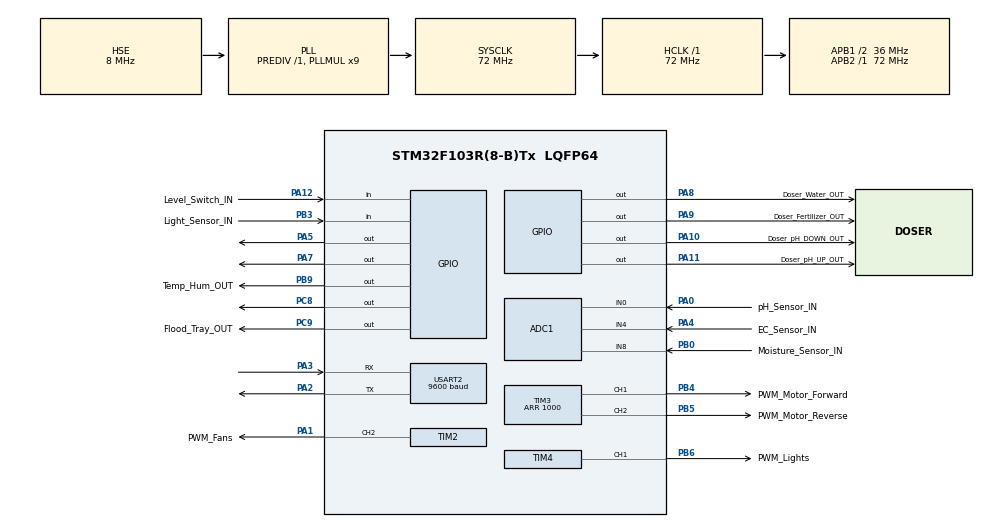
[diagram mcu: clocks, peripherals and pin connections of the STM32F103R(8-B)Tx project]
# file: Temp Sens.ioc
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ADC1.Channel-3\#ChannelRegularConversion=ADC_CHANNEL_4
ADC1.NbrOfConversionFlag=1
ADC1.Rank-3\#ChannelRegularConversion=1
ADC1.SamplingTime-3\#ChannelRegularConversion=ADC_SAMPLETIME_1CYCLE_5
ADC1.master=1
Mcu.Family=STM32F1
Mcu.Name=STM32F103R(8-B)Tx
Mcu.Package=LQFP64
NVIC.PriorityGroup=NVIC_PRIORITYGROUP_4
NVIC.USART2_IRQn=true\:0\:0\:false\:false\:true\:true\:true
PA0-WKUP.GPIO_Label=pH_Sensor_IN
PA0-WKUP.Signal=ADCx_IN0
PA1.GPIO_Label=PWM_Fans
PA1.Signal=S_TIM2_CH2
PA10.GPIO_Label=Doser_pH_DOWN_OUT
PA10.Signal=GPIO_Output
PA11.GPIO_Label=Doser_pH_UP_OUT
PA11.Signal=GPIO_Output
PA12.GPIO_Label=Level_Switch_IN
PA12.GPIO_PuPd=GPIO_PULLUP
PA12.Signal=GPIO_Input
PA13.Mode=Serial_Wire
PA13.Signal=SYS_JTMS-SWDIO
PA14.Mode=Serial_Wire
PA14.Signal=SYS_JTCK-SWCLK
PA2.Mode=Asynchronous
PA2.Signal=USART2_TX
PA3.Mode=Asynchronous
PA3.Signal=USART2_RX
PA4.GPIO_Label=EC_Sensor_IN
PA4.Signal=ADCx_IN4
PA5.Signal=GPIO_Output
PA7.Signal=GPIO_Output
PA8.GPIO_Label=Doser_Water_OUT
PA8.Signal=GPIO_Output
PA9.GPIO_Label=Doser_Fertilizer_OUT
PA9.Signal=GPIO_Output
PB0.GPIO_Label=Moisture_Sensor_IN
PB0.Signal=ADCx_IN8
PB3.GPIO_Label=Light_Sensor_IN
PB3.Signal=GPIO_Input
PB4.GPIO_Label=PWM_Motor_Forward
PB4.Signal=S_TIM3_CH1
PB5.GPIO_Label=PWM_Motor_Reverse
PB5.Signal=S_TIM3_CH2
PB6.GPIO_Label=PWM_Lights
PB6.Signal=S_TIM4_CH1
PB9.GPIO_Label=Temp_Hum_OUT
PB9.Signal=GPIO_Output
PC8.Signal=GPIO_Output
PC9.GPIO_Label=Flood_Tray_OUT
PC9.Signal=GPIO_Output
PD0-OSC_IN.Mode=HSE-External-Oscillator
PD0-OSC_IN.Signal=RCC_OSC_IN
PD1-OSC_OUT.Mode=HSE-External-Oscillator
PD1-OSC_OUT.Signal=RCC_OSC_OUT
ProjectManager.HeapSize=0x200
ProjectManager.StackSize=0x400
ProjectManager.TargetToolchain=STM32CubeIDE
RCC.ADCPresc=RCC_ADCPCLK2_DIV6
RCC.AHBFreq_Value=72000000
RCC.APB1CLKDivider=RCC_HCLK_DIV2
RCC.APB1Freq_Value=36000000
RCC.APB1TimFreq_Value=72000000
RCC.APB2Freq_Value=72000000
RCC.APB2TimFreq_Value=72000000
RCC.HCLKFreq_Value=72000000
RCC.PLLMUL=RCC_PLL_MUL9
RCC.PLLSourceVirtual=RCC_PLLSOURCE_HSE
RCC.SYSCLKFreq_VALUE=72000000
RCC.SYSCLKSource=RCC_SYSCLKSOURCE_PLLCLK
RCC.USBFreq_Value=72000000
SH.ADCx_IN0.0=ADC1_IN0,IN0
SH.ADCx_IN4.0=ADC1_IN4,IN4
SH.ADCx_IN8.0=ADC1_IN8,IN8
SH.S_TIM2_CH2.0=TIM2_CH2,PWM Generation2 CH2
SH.S_TIM3_CH1.0=TIM3_CH1,PWM Generation1 CH1
SH.S_TIM3_CH2.0=TIM3_CH2,PWM Generation2 CH2
SH.S_TIM4_CH1.0=TIM4_CH1,PWM Generation1 CH1
TIM1.Prescaler=71
TIM2.AutoReloadPreload=TIM_AUTORELOAD_PRELOAD_ENABLE
TIM2.Channel-PWM\ Generation2\ CH2=TIM_CHANNEL_2
TIM2.Period=1000
TIM2.Prescaler=0
TIM3.AutoReloadPreload=TIM_AUTORELOAD_PRELOAD_ENABLE
TIM3.Channel-PWM\ Generation1\ CH1=TIM_CHANNEL_1
TIM3.Channel-PWM\ Generation2\ CH2=TIM_CHANNEL_2
TIM3.Period=1000
TIM4.Channel-PWM\ Generation1\ CH1=TIM_CHANNEL_1
TIM4.Period=1000
USART2.BaudRate=9600
USART2.VirtualMode=VM_ASYNC
VP_TIM1_VS_ClockSourceINT.Mode=Internal
VP_TIM2_VS_ClockSourceINT.Mode=Internal
VP_TIM3_VS_ClockSourceINT.Mode=Internal
VP_TIM4_VS_ClockSourceINT.Mode=Internal
board=custom

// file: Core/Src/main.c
/* USER CODE BEGIN Header */
/**
  ******************************************************************************
  * @file           : main.c
  * @brief          : Main program body
  ******************************************************************************
  * @attention
  *
  * <h2><center>&copy; Copyright (c) 2022 STMicroelectronics.
  * All rights reserved.</center></h2>
  *
  * This software component is licensed by ST under BSD 3-Clause license,
  * the "License"; You may not use this file except in compliance with the
  * License. You may obtain a copy of the License at:
  *                        opensource.org/licenses/BSD-3-Clause
  *
  ******************************************************************************
  */
/* USER CODE END Header */
#include "main.h"

ADC_HandleTypeDef hadc1;

TIM_HandleTypeDef htim1;
TIM_HandleTypeDef htim2;
TIM_HandleTypeDef htim3;
TIM_HandleTypeDef htim4;

UART_HandleTypeDef huart2;

void SystemClock_Config(void);
static void MX_GPIO_Init(void);
static void MX_TIM1_Init(void);
static void MX_TIM2_Init(void);
static void MX_USART2_UART_Init(void);
static void MX_ADC1_Init(void);
static void MX_TIM3_Init(void);
static void MX_TIM4_Init(void);

/* USER CODE BEGIN 0 */
#define DHT22_PORT GPIOB
#define DHT22_PIN GPIO_PIN_9
uint8_t RH1, RH2, TC1, TC2, SUM, CHECK, data;
uint32_t pMillis, cMillis;
float tCelsius = 0;
float tFahrenheit = 0;
float RH = 0;

void microDelay (uint16_t delay)
{
  __HAL_TIM_SET_COUNTER(&htim1, 0);
  while (__HAL_TIM_GET_COUNTER(&htim1) < delay);
}

uint8_t DHT22_Start (void)
{
  uint8_t Response = 0;
  GPIO_InitTypeDef GPIO_InitStructPrivate = {0};
  GPIO_InitStructPrivate.Pin = DHT22_PIN;
  GPIO_InitStructPrivate.Mode = GPIO_MODE_OUTPUT_PP;
  GPIO_InitStructPrivate.Speed = GPIO_SPEED_FREQ_LOW;
  GPIO_InitStructPrivate.Pull = GPIO_NOPULL;
  HAL_GPIO_Init(DHT22_PORT, &GPIO_InitStructPrivate); // set the pin as output
  HAL_GPIO_WritePin (DHT22_PORT, DHT22_PIN, 0);   // pull the pin low
  microDelay (1300);   // wait for 1300us
  HAL_GPIO_WritePin (DHT22_PORT, DHT22_PIN, 1);   // pull the pin high
  microDelay (30);   // wait for 30us
  GPIO_InitStructPrivate.Mode = GPIO_MODE_INPUT;
  GPIO_InitStructPrivate.Pull = GPIO_PULLUP;
  HAL_GPIO_Init(DHT22_PORT, &GPIO_InitStructPrivate); // set the pin as input
  microDelay (40);
  if (!(HAL_GPIO_ReadPin (DHT22_PORT, DHT22_PIN)))
  {
    microDelay (80);
    if ((HAL_GPIO_ReadPin (DHT22_PORT, DHT22_PIN))) Response = 1;
  }
  pMillis = HAL_GetTick();
  cMillis = HAL_GetTick();
  while ((HAL_GPIO_ReadPin (DHT22_PORT, DHT22_PIN)) && pMillis + 2 > cMillis)
  {
    cMillis = HAL_GetTick();
  }
  return Response;
}

uint8_t DHT22_Read (void)
{
  uint8_t a,b;
  for (a=0;a<8;a++)
  {
    pMillis = HAL_GetTick();
    cMillis = HAL_GetTick();
    while (!(HAL_GPIO_ReadPin (DHT22_PORT, DHT22_PIN)) && pMillis + 2 > cMillis)
    {  // wait for the pin to go high
      cMillis = HAL_GetTick();
    }
    microDelay (40);   // wait for 40 us
    if (!(HAL_GPIO_ReadPin (DHT22_PORT, DHT22_PIN)))   // if the pin is low
      b&= ~(1<<(7-a));
    else
      b|= (1<<(7-a));
    pMillis = HAL_GetTick();
    cMillis = HAL_GetTick();
    while ((HAL_GPIO_ReadPin (DHT22_PORT, DHT22_PIN)) && pMillis + 2 > cMillis)
    {  // wait for the pin to go low
      cMillis = HAL_GetTick();
    }
  }
  return b;
}
/* USER CODE END 0 */

int main(void)
{

  /* MCU Configuration--------------------------------------------------------*/

  /* Reset of all peripherals, Initializes the Flash interface and the Systick. */
  HAL_Init();

  /* Configure the system clock */
  SystemClock_Config();

  /* Initialize all configured peripherals */
  MX_GPIO_Init();
  MX_TIM1_Init();
  MX_TIM2_Init();
  MX_USART2_UART_Init();
  MX_ADC1_Init();
  MX_TIM3_Init();
  MX_TIM4_Init();
  /* USER CODE BEGIN 2 */
  HAL_TIM_Base_Start(&htim1);
  HAL_TIM_PWM_Start(&htim2, TIM_CHANNEL_2);
  HAL_TIM_PWM_Start(&htim3, TIM_CHANNEL_1);
  HAL_TIM_PWM_Start(&htim3, TIM_CHANNEL_2);
  HAL_TIM_PWM_Start(&htim4, TIM_CHANNEL_1);
  /* USER CODE END 2 */

  /* Infinite loop */
  /* USER CODE BEGIN WHILE */
  while (1)
  {
	  if(DHT22_Start())
  {
    RH1 = DHT22_Read(); // First 8bits of humidity
    RH2 = DHT22_Read(); // Second 8bits of Relative humidity
    TC1 = DHT22_Read(); // First 8bits of Celsius
    TC2 = DHT22_Read(); // Second 8bits of Celsius
    SUM = DHT22_Read(); // Check sum
    CHECK = RH1 + RH2 + TC1 + TC2;
    if (CHECK == SUM)
    {
      if (TC1>127) // If TC1=10000000, negative temperature
      {
        tCelsius = (float)TC2/10*(-1);
      }
      else
      {
        tCelsius = (float)((TC1<<8)|TC2)/10;
      }
      tFahrenheit = tCelsius * 9/5 + 32;
      RH = (float) ((RH1<<8)|RH2)/10;
    }
  }
 /***********PWM Fan***************/
	 //if temperature gets to 17C and humidity 50%, shut off fans
	 if (tCelsius <= 17 && RH <= 50)
	 {
	  TIM2->CCR2 = 0;
	  HAL_Delay(1);
	 }
	 //if temperature gets to 23C and humidity 75%, run fans at 50%
	 else if (tCelsius <= 23 && RH <= 75)
	 {

	  TIM2->CCR2 = 500;
	  HAL_Delay(1);
	 }
	 //if temperature exceeds 24C and above 75%, run fans at full bore
	 else
	 {
	 TIM2->CCR2 = 1000;
	 HAL_Delay(1);
	 }

/**************************************/
/*************MOTOR*******************/
	 //temperature 18 and below, ensure shaders are open
	 if(tCelsius <= 18)
	{
	 TIM3->CCR1 = 1000;
	 HAL_Delay(1);
	}
	//temperature 25 and above, close shaders to help reduce temp
	else if (tCelsius >= 25)
	{
	 TIM3->CCR2 = 1000;
	 HAL_Delay(1);
	}
	//otherwise motors are off
	else
	{
	TIM3->CCR1 = 0;
	TIM3->CCR2 = 0;
	HAL_Delay(1);
	}

/**********************************/
/**********USART *****************/
//HAL_UART_Transmit(&huart2, (uint8_t*) TC1, 8, 100);
//HAL_GPIO_TogglePin(GPIOA, GPIO_PIN_2);
  //if(HAL_UART_Transmit(&huart2, "TEST ", 8, 10000) != HAL_OK)
	  Error_Handler();

 // HAL_UART_Receive(&huart2, data, sizeof(data), 1000);
  HAL_Delay(1000);
  }
    /* USER CODE END WHILE */

}

void SystemClock_Config(void)
{
  RCC_OscInitTypeDef RCC_OscInitStruct = {0};
  RCC_ClkInitTypeDef RCC_ClkInitStruct = {0};
  RCC_PeriphCLKInitTypeDef PeriphClkInit = {0};

  /** Initializes the RCC Oscillators according to the specified parameters
  * in the RCC_OscInitTypeDef structure.
  */
  RCC_OscInitStruct.OscillatorType = RCC_OSCILLATORTYPE_HSE;
  RCC_OscInitStruct.HSEState = RCC_HSE_ON;
  RCC_OscInitStruct.HSEPredivValue = RCC_HSE_PREDIV_DIV1;
  RCC_OscInitStruct.HSIState = RCC_HSI_ON;
  RCC_OscInitStruct.PLL.PLLState = RCC_PLL_ON;
  RCC_OscInitStruct.PLL.PLLSource = RCC_PLLSOURCE_HSE;
  RCC_OscInitStruct.PLL.PLLMUL = RCC_PLL_MUL9;
  if (HAL_RCC_OscConfig(&RCC_OscInitStruct) != HAL_OK)
  {
    Error_Handler();
  }
  /** Initializes the CPU, AHB and APB buses clocks
  */
  RCC_ClkInitStruct.ClockType = RCC_CLOCKTYPE_HCLK|RCC_CLOCKTYPE_SYSCLK
                              |RCC_CLOCKTYPE_PCLK1|RCC_CLOCKTYPE_PCLK2;
  RCC_ClkInitStruct.SYSCLKSource = RCC_SYSCLKSOURCE_PLLCLK;
  RCC_ClkInitStruct.AHBCLKDivider = RCC_SYSCLK_DIV1;
  RCC_ClkInitStruct.APB1CLKDivider = RCC_HCLK_DIV2;
  RCC_ClkInitStruct.APB2CLKDivider = RCC_HCLK_DIV1;

  if (HAL_RCC_ClockConfig(&RCC_ClkInitStruct, FLASH_LATENCY_2) != HAL_OK)
  {
    Error_Handler();
  }
  PeriphClkInit.PeriphClockSelection = RCC_PERIPHCLK_ADC;
  PeriphClkInit.AdcClockSelection = RCC_ADCPCLK2_DIV6;
  if (HAL_RCCEx_PeriphCLKConfig(&PeriphClkInit) != HAL_OK)
  {
    Error_Handler();
  }
}

static void MX_ADC1_Init(void)
{

  ADC_ChannelConfTypeDef sConfig = {0};

  /** Common config
  */
  hadc1.Instance = ADC1;
  hadc1.Init.ScanConvMode = ADC_SCAN_DISABLE;
  hadc1.Init.ContinuousConvMode = DISABLE;
  hadc1.Init.DiscontinuousConvMode = DISABLE;
  hadc1.Init.ExternalTrigConv = ADC_SOFTWARE_START;
  hadc1.Init.DataAlign = ADC_DATAALIGN_RIGHT;
  hadc1.Init.NbrOfConversion = 1;
  if (HAL_ADC_Init(&hadc1) != HAL_OK)
  {
    Error_Handler();
  }
  /** Configure Regular Channel
  */
  sConfig.Channel = ADC_CHANNEL_4;
  sConfig.Rank = ADC_REGULAR_RANK_1;
  sConfig.SamplingTime = ADC_SAMPLETIME_1CYCLE_5;
  if (HAL_ADC_ConfigChannel(&hadc1, &sConfig) != HAL_OK)
  {
    Error_Handler();
  }

}

static void MX_TIM1_Init(void)
{

  TIM_ClockConfigTypeDef sClockSourceConfig = {0};
  TIM_MasterConfigTypeDef sMasterConfig = {0};

  htim1.Instance = TIM1;
  htim1.Init.Prescaler = 71;
  htim1.Init.CounterMode = TIM_COUNTERMODE_UP;
  htim1.Init.Period = 65535;
  htim1.Init.ClockDivision = TIM_CLOCKDIVISION_DIV1;
  htim1.Init.RepetitionCounter = 0;
  htim1.Init.AutoReloadPreload = TIM_AUTORELOAD_PRELOAD_DISABLE;
  if (HAL_TIM_Base_Init(&htim1) != HAL_OK)
  {
    Error_Handler();
  }
  sClockSourceConfig.ClockSource = TIM_CLOCKSOURCE_INTERNAL;
  if (HAL_TIM_ConfigClockSource(&htim1, &sClockSourceConfig) != HAL_OK)
  {
    Error_Handler();
  }
  sMasterConfig.MasterOutputTrigger = TIM_TRGO_RESET;
  sMasterConfig.MasterSlaveMode = TIM_MASTERSLAVEMODE_DISABLE;
  if (HAL_TIMEx_MasterConfigSynchronization(&htim1, &sMasterConfig) != HAL_OK)
  {
    Error_Handler();
  }

}

static void MX_TIM2_Init(void)
{

  TIM_ClockConfigTypeDef sClockSourceConfig = {0};
  TIM_MasterConfigTypeDef sMasterConfig = {0};
  TIM_OC_InitTypeDef sConfigOC = {0};

  htim2.Instance = TIM2;
  htim2.Init.Prescaler = 0;
  htim2.Init.CounterMode = TIM_COUNTERMODE_UP;
  htim2.Init.Period = 1000;
  htim2.Init.ClockDivision = TIM_CLOCKDIVISION_DIV1;
  htim2.Init.AutoReloadPreload = TIM_AUTORELOAD_PRELOAD_ENABLE;
  if (HAL_TIM_Base_Init(&htim2) != HAL_OK)
  {
    Error_Handler();
  }
  sClockSourceConfig.ClockSource = TIM_CLOCKSOURCE_INTERNAL;
  if (HAL_TIM_ConfigClockSource(&htim2, &sClockSourceConfig) != HAL_OK)
  {
    Error_Handler();
  }
  if (HAL_TIM_PWM_Init(&htim2) != HAL_OK)
  {
    Error_Handler();
  }
  sMasterConfig.MasterOutputTrigger = TIM_TRGO_RESET;
  sMasterConfig.MasterSlaveMode = TIM_MASTERSLAVEMODE_DISABLE;
  if (HAL_TIMEx_MasterConfigSynchronization(&htim2, &sMasterConfig) != HAL_OK)
  {
    Error_Handler();
  }
  sConfigOC.OCMode = TIM_OCMODE_PWM1;
  sConfigOC.Pulse = 0;
  sConfigOC.OCPolarity = TIM_OCPOLARITY_HIGH;
  sConfigOC.OCFastMode = TIM_OCFAST_DISABLE;
  if (HAL_TIM_PWM_ConfigChannel(&htim2, &sConfigOC, TIM_CHANNEL_2) != HAL_OK)
  {
    Error_Handler();
  }
  HAL_TIM_MspPostInit(&htim2);

}

static void MX_TIM3_Init(void)
{

  TIM_ClockConfigTypeDef sClockSourceConfig = {0};
  TIM_MasterConfigTypeDef sMasterConfig = {0};
  TIM_OC_InitTypeDef sConfigOC = {0};

  htim3.Instance = TIM3;
  htim3.Init.Prescaler = 0;
  htim3.Init.CounterMode = TIM_COUNTERMODE_UP;
  htim3.Init.Period = 1000;
  htim3.Init.ClockDivision = TIM_CLOCKDIVISION_DIV1;
  htim3.Init.AutoReloadPreload = TIM_AUTORELOAD_PRELOAD_ENABLE;
  if (HAL_TIM_Base_Init(&htim3) != HAL_OK)
  {
    Error_Handler();
  }
  sClockSourceConfig.ClockSource = TIM_CLOCKSOURCE_INTERNAL;
  if (HAL_TIM_ConfigClockSource(&htim3, &sClockSourceConfig) != HAL_OK)
  {
    Error_Handler();
  }
  if (HAL_TIM_PWM_Init(&htim3) != HAL_OK)
  {
    Error_Handler();
  }
  sMasterConfig.MasterOutputTrigger = TIM_TRGO_RESET;
  sMasterConfig.MasterSlaveMode = TIM_MASTERSLAVEMODE_DISABLE;
  if (HAL_TIMEx_MasterConfigSynchronization(&htim3, &sMasterConfig) != HAL_OK)
  {
    Error_Handler();
  }
  sConfigOC.OCMode = TIM_OCMODE_PWM1;
  sConfigOC.Pulse = 0;
  sConfigOC.OCPolarity = TIM_OCPOLARITY_HIGH;
  sConfigOC.OCFastMode = TIM_OCFAST_DISABLE;
  if (HAL_TIM_PWM_ConfigChannel(&htim3, &sConfigOC, TIM_CHANNEL_1) != HAL_OK)
  {
    Error_Handler();
  }
  if (HAL_TIM_PWM_ConfigChannel(&htim3, &sConfigOC, TIM_CHANNEL_2) != HAL_OK)
  {
    Error_Handler();
  }
  HAL_TIM_MspPostInit(&htim3);

}

static void MX_TIM4_Init(void)
{

  TIM_ClockConfigTypeDef sClockSourceConfig = {0};
  TIM_MasterConfigTypeDef sMasterConfig = {0};
  TIM_OC_InitTypeDef sConfigOC = {0};

  htim4.Instance = TIM4;
  htim4.Init.Prescaler = 0;
  htim4.Init.CounterMode = TIM_COUNTERMODE_UP;
  htim4.Init.Period = 1000;
  htim4.Init.ClockDivision = TIM_CLOCKDIVISION_DIV1;
  htim4.Init.AutoReloadPreload = TIM_AUTORELOAD_PRELOAD_DISABLE;
  if (HAL_TIM_Base_Init(&htim4) != HAL_OK)
  {
    Error_Handler();
  }
  sClockSourceConfig.ClockSource = TIM_CLOCKSOURCE_INTERNAL;
  if (HAL_TIM_ConfigClockSource(&htim4, &sClockSourceConfig) != HAL_OK)
  {
    Error_Handler();
  }
  if (HAL_TIM_PWM_Init(&htim4) != HAL_OK)
  {
    Error_Handler();
  }
  sMasterConfig.MasterOutputTrigger = TIM_TRGO_RESET;
  sMasterConfig.MasterSlaveMode = TIM_MASTERSLAVEMODE_DISABLE;
  if (HAL_TIMEx_MasterConfigSynchronization(&htim4, &sMasterConfig) != HAL_OK)
  {
    Error_Handler();
  }
  sConfigOC.OCMode = TIM_OCMODE_PWM1;
  sConfigOC.Pulse = 0;
  sConfigOC.OCPolarity = TIM_OCPOLARITY_HIGH;
  sConfigOC.OCFastMode = TIM_OCFAST_DISABLE;
  if (HAL_TIM_PWM_ConfigChannel(&htim4, &sConfigOC, TIM_CHANNEL_1) != HAL_OK)
  {
    Error_Handler();
  }
  HAL_TIM_MspPostInit(&htim4);

}

static void MX_USART2_UART_Init(void)
{

  huart2.Instance = USART2;
  huart2.Init.BaudRate = 9600;
  huart2.Init.WordLength = UART_WORDLENGTH_8B;
  huart2.Init.StopBits = UART_STOPBITS_1;
  huart2.Init.Parity = UART_PARITY_NONE;
  huart2.Init.Mode = UART_MODE_TX_RX;
  huart2.Init.HwFlowCtl = UART_HWCONTROL_NONE;
  huart2.Init.OverSampling = UART_OVERSAMPLING_16;
  if (HAL_UART_Init(&huart2) != HAL_OK)
  {
    Error_Handler();
  }

}

static void MX_GPIO_Init(void)
{
  GPIO_InitTypeDef GPIO_InitStruct = {0};

  /* GPIO Ports Clock Enable */
  __HAL_RCC_GPIOD_CLK_ENABLE();
  __HAL_RCC_GPIOA_CLK_ENABLE();
  __HAL_RCC_GPIOB_CLK_ENABLE();
  __HAL_RCC_GPIOC_CLK_ENABLE();

  /*Configure GPIO pin Output Level */
  HAL_GPIO_WritePin(GPIOA, GPIO_PIN_5|GPIO_PIN_7|Doser_Water_OUT_Pin|Doser_Fertilizer_OUT_Pin
                          |Doser_pH_DOWN_OUT_Pin|Doser_pH_UP_OUT_Pin, GPIO_PIN_RESET);

  /*Configure GPIO pin Output Level */
  HAL_GPIO_WritePin(GPIOC, GPIO_PIN_8|Flood_Tray_OUT_Pin, GPIO_PIN_RESET);

  /*Configure GPIO pin Output Level */
  HAL_GPIO_WritePin(Temp_Hum_OUT_GPIO_Port, Temp_Hum_OUT_Pin, GPIO_PIN_RESET);

  /*Configure GPIO pins : PA5 PA7 Doser_Water_OUT_Pin Doser_Fertilizer_OUT_Pin
                           Doser_pH_DOWN_OUT_Pin Doser_pH_UP_OUT_Pin */
  GPIO_InitStruct.Pin = GPIO_PIN_5|GPIO_PIN_7|Doser_Water_OUT_Pin|Doser_Fertilizer_OUT_Pin
                          |Doser_pH_DOWN_OUT_Pin|Doser_pH_UP_OUT_Pin;
  GPIO_InitStruct.Mode = GPIO_MODE_OUTPUT_PP;
  GPIO_InitStruct.Pull = GPIO_NOPULL;
  GPIO_InitStruct.Speed = GPIO_SPEED_FREQ_LOW;
  HAL_GPIO_Init(GPIOA, &GPIO_InitStruct);

  /*Configure GPIO pins : PC8 Flood_Tray_OUT_Pin */
  GPIO_InitStruct.Pin = GPIO_PIN_8|Flood_Tray_OUT_Pin;
  GPIO_InitStruct.Mode = GPIO_MODE_OUTPUT_PP;
  GPIO_InitStruct.Pull = GPIO_NOPULL;
  GPIO_InitStruct.Speed = GPIO_SPEED_FREQ_LOW;
  HAL_GPIO_Init(GPIOC, &GPIO_InitStruct);

  /*Configure GPIO pin : Level_Switch_IN_Pin */
  GPIO_InitStruct.Pin = Level_Switch_IN_Pin;
  GPIO_InitStruct.Mode = GPIO_MODE_INPUT;
  GPIO_InitStruct.Pull = GPIO_PULLUP;
  HAL_GPIO_Init(Level_Switch_IN_GPIO_Port, &GPIO_InitStruct);

  /*Configure GPIO pin : Light_Sensor_IN_Pin */
  GPIO_InitStruct.Pin = Light_Sensor_IN_Pin;
  GPIO_InitStruct.Mode = GPIO_MODE_INPUT;
  GPIO_InitStruct.Pull = GPIO_NOPULL;
  HAL_GPIO_Init(Light_Sensor_IN_GPIO_Port, &GPIO_InitStruct);

  /*Configure GPIO pin : Temp_Hum_OUT_Pin */
  GPIO_InitStruct.Pin = Temp_Hum_OUT_Pin;
  GPIO_InitStruct.Mode = GPIO_MODE_OUTPUT_PP;
  GPIO_InitStruct.Pull = GPIO_NOPULL;
  GPIO_InitStruct.Speed = GPIO_SPEED_FREQ_LOW;
  HAL_GPIO_Init(Temp_Hum_OUT_GPIO_Port, &GPIO_InitStruct);

}

void Error_Handler(void)
{
  __disable_irq();
  while (1)
  {
  }
}

/************************ (C) COPYRIGHT STMicroelectronics *****END OF FILE****/
